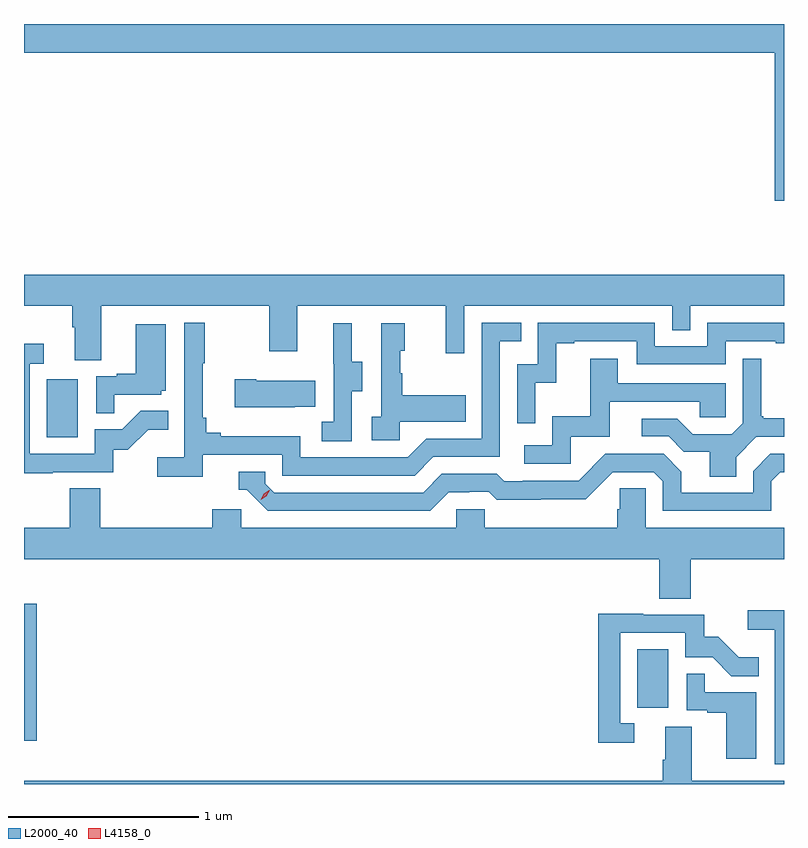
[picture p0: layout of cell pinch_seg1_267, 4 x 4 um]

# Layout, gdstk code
import gdstk
lib = gdstk.Library(unit=1e-6, precision=1e-09)
def R(c, l, rs):  # rectangles x0, y0, x1, y1
    for r in rs: c.add(gdstk.rectangle(r[:2], r[2:], *l))
def P(c, l, *ps):  # polygons
    for p in ps: c.add(gdstk.Polygon(p, *l))
L2000_40 = (2000, 40)
L4158_0 = (4158, 0)

pinch_seg1_267 = lib.new_cell('pinch_seg1_267')
R(pinch_seg1_267, L2000_40, [(909.567,542.784,909.634,543.505), (912.794,542.958,912.958,543.265), (909.686,544.38,909.85,544.687)])
P(pinch_seg1_267, L2000_40, [(913.567,546.556),(909.567,546.556),(909.567,546.404),(913.517,546.404),(913.517,545.625),(913.567,545.625)],
  [(909.973,545.072),(910.858,545.072),(910.858,544.833),(911.005,544.833),(911.005,545.072),(911.786,545.072),(911.786,544.824),(911.883,544.824),(911.883,545.072),(912.978,545.072),(912.978,544.945),(913.074,544.945),(913.074,545.072),(913.567,545.072),(913.567,545.236),(909.567,545.236),(909.567,545.072),(909.821,545.072),(909.821,544.96),(909.833,544.96),(909.833,544.786),(909.973,544.786)],
  [(910.508,544.29),(910.926,544.29),(910.926,544.179),(911.623,544.179),(911.722,544.278),(912.072,544.278),(912.072,544.887),(912.185,544.887),(912.185,544.983),(911.976,544.983),(911.976,544.374),(911.685,544.374),(911.586,544.275),(911.022,544.275),(911.022,544.387),(910.603,544.387),(910.603,544.406),(910.526,544.406),(910.526,544.483),(910.507,544.483),(910.507,544.771),(910.519,544.771),(910.519,544.984),(910.41,544.984),(910.41,544.276),(910.269,544.276),(910.269,544.174),(910.508,544.174)],
  [(912.258,544.667),(912.368,544.667),(912.368,544.875),(912.463,544.875),(912.463,544.887),(912.792,544.887),(912.792,544.764),(913.26,544.764),(913.26,544.887),(913.523,544.887),(913.523,544.875),(913.567,544.875),(913.567,544.983),(913.164,544.983),(913.164,544.86),(912.888,544.86),(912.888,544.983),(912.27,544.983),(912.27,544.764),(912.162,544.764),(912.162,544.455),(912.258,544.455)],
  [(911.292,544.624),(911.347,544.624),(911.347,544.779),(911.293,544.779),(911.293,544.981),(911.195,544.981),(911.195,544.767),(911.196,544.767),(911.196,544.463),(911.133,544.463),(911.133,544.36),(911.292,544.36)],
  [(911.544,544.463),(911.891,544.463),(911.891,544.603),(911.557,544.603),(911.557,544.718),(911.547,544.718),(911.547,544.836),(911.572,544.836),(911.572,544.981),(911.448,544.981),(911.448,544.49),(911.397,544.49),(911.397,544.365),(911.544,544.365)],
  [(910.043,544.605),(910.29,544.605),(910.29,544.626),(910.312,544.626),(910.312,544.975),(910.154,544.975),(910.154,544.714),(910.055,544.714),(910.055,544.701),(909.948,544.701),(909.948,544.507),(910.043,544.507)],
  [(909.719,544.197),(910.038,544.197),(910.038,544.314),(910.114,544.314),(910.221,544.421),(910.325,544.421),(910.325,544.52),(910.181,544.52),(910.083,544.422),(909.939,544.422),(909.939,544.293),(909.597,544.293),(909.597,544.767),(909.67,544.767),(909.67,544.873),(909.567,544.873),(909.567,544.192),(909.719,544.192)],
  [(912.444,544.383),(912.649,544.383),(912.649,544.569),(913.123,544.569),(913.123,544.485),(913.26,544.485),(913.26,544.665),(912.691,544.665),(912.691,544.795),(912.547,544.795),(912.547,544.492),(912.348,544.492),(912.348,544.338),(912.201,544.338),(912.201,544.242),(912.444,544.242)],
  [(913.315,544.276),(913.422,544.383),(913.567,544.383),(913.567,544.48),(913.459,544.48),(913.459,544.492),(913.447,544.492),(913.447,544.795),(913.35,544.795),(913.35,544.455),(913.293,544.398),(913.087,544.398),(913.006,544.479),(912.819,544.479),(912.819,544.386),(912.96,544.386),(913.04,544.306),(913.175,544.306),(913.175,544.174),(913.315,544.174)],
  [(910.991,544.541),(911.099,544.541),(911.099,544.678),(910.789,544.678),(910.789,544.686),(910.677,544.686),(910.677,544.538),(910.991,544.538)],
  [(911.803,544.092),(911.91,544.092),(911.91,544.095),(912.013,544.095),(912.055,544.053),(912.288,544.053),(912.288,544.055),(912.524,544.055),(912.666,544.197),(912.882,544.197),(912.93,544.149),(912.93,543.993),(913.5,543.993),(913.5,544.149),(913.548,544.197),(913.567,544.197),(913.567,544.293),(913.494,544.293),(913.404,544.203),(913.404,544.089),(913.027,544.089),(913.027,544.199),(912.933,544.293),(912.627,544.293),(912.486,544.152),(912.193,544.152),(912.193,544.149),(912.094,544.149),(912.055,544.188),(911.766,544.188),(911.667,544.089),(910.884,544.089),(910.836,544.137),(910.836,544.2),(910.697,544.2),(910.697,544.104),(910.74,544.104),(910.851,543.993),(911.704,543.993)],
  [(913.076,543.74),(913.567,543.74),(913.567,543.904),(912.84,543.904),(912.84,544.112),(912.703,544.112),(912.703,544.002),(912.689,544.002),(912.689,543.904),(911.991,543.904),(911.991,544.002),(911.841,544.002),(911.841,543.904),(910.71,543.904),(910.71,544.002),(910.559,544.002),(910.559,543.904),(909.968,543.904),(909.968,544.112),(909.808,544.112),(909.808,543.904),(909.567,543.904),(909.567,543.74),(912.911,543.74),(912.911,543.532),(913.076,543.532)],
  [(913.567,543.47),(913.377,543.47),(913.377,543.368),(913.518,543.368),(913.518,542.661),(913.567,542.661)],
  [(912.778,542.877),(912.705,542.877),(912.705,543.351),(913.047,543.351),(913.047,543.222),(913.191,543.222),(913.289,543.124),(913.433,543.124),(913.433,543.223),(913.329,543.223),(913.222,543.33),(913.146,543.33),(913.146,543.447),(912.827,543.447),(912.827,543.452),(912.589,543.452),(912.589,542.772),(912.778,542.772)],
  [(913.42,543.039),(913.151,543.039),(913.151,543.137),(913.056,543.137),(913.056,542.943),(913.163,542.943),(913.163,542.931),(913.262,542.931),(913.262,542.688),(913.42,542.688)],
  [(909.567,542.556),(913.567,542.556),(913.567,542.572),(913.081,542.572),(913.081,542.858),(912.941,542.858),(912.941,542.684),(912.929,542.684),(912.929,542.572),(909.567,542.572)])
P(pinch_seg1_267, L4158_0, [(910.812,544.052),(910.812,544.052),(910.828,544.084),(910.859,544.103),(910.86,544.103),(910.86,544.103),(910.843,544.071),(910.812,544.052)])

lib.write_gds('pinch_seg1_267.gds')
